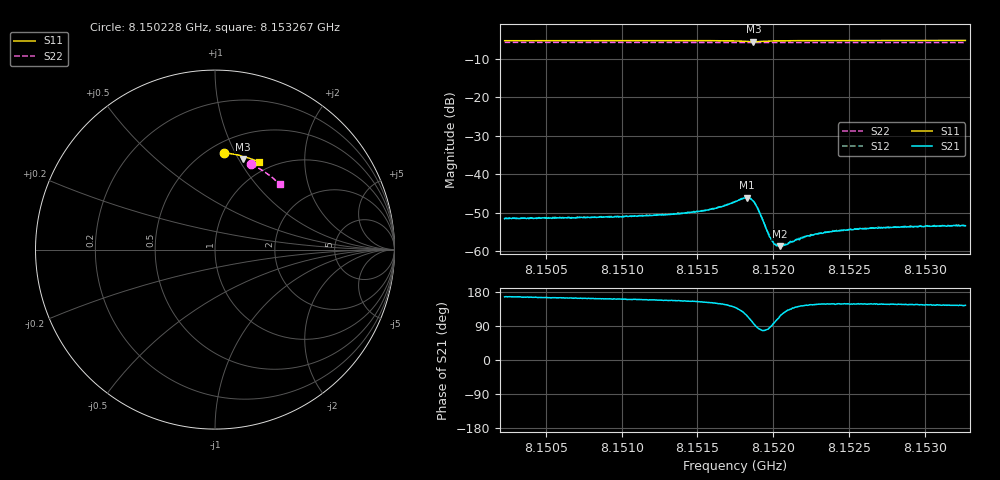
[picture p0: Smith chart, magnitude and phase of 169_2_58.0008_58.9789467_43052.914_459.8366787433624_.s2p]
#  HZ  S  RI  R  50.00
! Rohde & Schwarz Vector Network Analyzer
! Rohde-Schwarz,ZNB20-2Port,1311601062101988,3.16
! Created: UTC 3/21/2024, 12:57:51 AM
! freq[Hz]  re:S11  im:S11  re:S21  im:S21  re:S12  im:S12  re:S22  im:S22
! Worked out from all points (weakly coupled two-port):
!   401 points, 8.150228 GHz to 8.153267 GHz, reference 50 ohm
!   highest |S21| = -46.07 dB at 8.151823 GHz (marker M1); lowest = -58.7 dB at 8.152044 GHz (marker M2)
!   lowest |S11| = -5.6 dB at 8.151869 GHz (marker M3), VSWR 3.21, Z = 37.4 + j51.9 ohm
!   |S11| at or under -10 dB: nowhere
!   |S22| runs from -5.8 to -5.8 dB; largest |S21 - S12| = 0.00012
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8.1502281e9  0.0475 0.5389  -0.00258 0.000611  -0.0026 0.00064  0.2008 0.4748
8.1507371e9  0.0831 0.5352  -0.00263 0.000831  -0.00265 0.00085  0.2303 0.4606
8.151246e9  0.119 0.5291  -0.00277 0.0011  -0.00272 0.00115  0.2588 0.4442
8.1513827e9  0.1289 0.5269  -0.00282 0.00122  -0.00283 0.00129  0.2663 0.4397
8.1515574e9  0.1419 0.523  -0.00303 0.00158  -0.00301 0.00165  0.2759 0.4335
8.1516714e9  0.1512 0.519  -0.00322 0.0021  -0.00326 0.00218  0.282 0.4292
8.1517473e9  0.1574 0.514  -0.00332 0.00291  -0.00328 0.00299  0.2859 0.4265
8.1518233e9  0.1593 0.5049  -0.00234 0.00438  -0.00229 0.00446  0.2897 0.4233
8.1518461e9  0.1571 0.5023  -0.00149 0.00463  -0.00141 0.00469  0.2907 0.4224
8.1518689e9  0.1538 0.5021  -0.000491 0.00444  -0.000439 0.00447  0.2917 0.4217
8.1518993e9  0.1508 0.505  0.000369 0.00353  0.000411 0.00353  0.2931 0.4208
8.1519676e9  0.1543 0.5127  0.000236 0.00166  0.000254 0.00171  0.2968 0.4185
8.1519904e9  0.1567 0.5138  -2.36e-05 0.00138  -1.08e-05 0.00138  0.298 0.4177
8.1520132e9  0.1591 0.5146  -0.000251 0.00121  -0.000244 0.00119  0.2992 0.4169
8.1520436e9  0.1622 0.515  -0.000508 0.00105  -0.000474 0.00107  0.3009 0.4157
8.1520892e9  0.1665 0.5149  -0.000786 0.000941  -0.000792 0.000946  0.3032 0.4139
8.1522107e9  0.1767 0.5132  -0.00127 0.000911  -0.00125 0.000921  0.3093 0.4093
8.1522563e9  0.1802 0.5123  -0.00135 0.000925  -0.00133 0.000927  0.3117 0.4073
8.1523854e9  0.1896 0.5095  -0.00153 0.000947  -0.00155 0.000982  0.3181 0.4019
8.1524614e9  0.195 0.5077  -0.0016 0.000999  -0.00156 0.00101  0.322 0.3991
8.1527652e9  0.2154 0.5002  -0.00169 0.00112  -0.00172 0.00112  0.3365 0.3864
8.1532665e9  0.2477 0.486  -0.00174 0.00126  -0.00175 0.00129  0.3594 0.364
